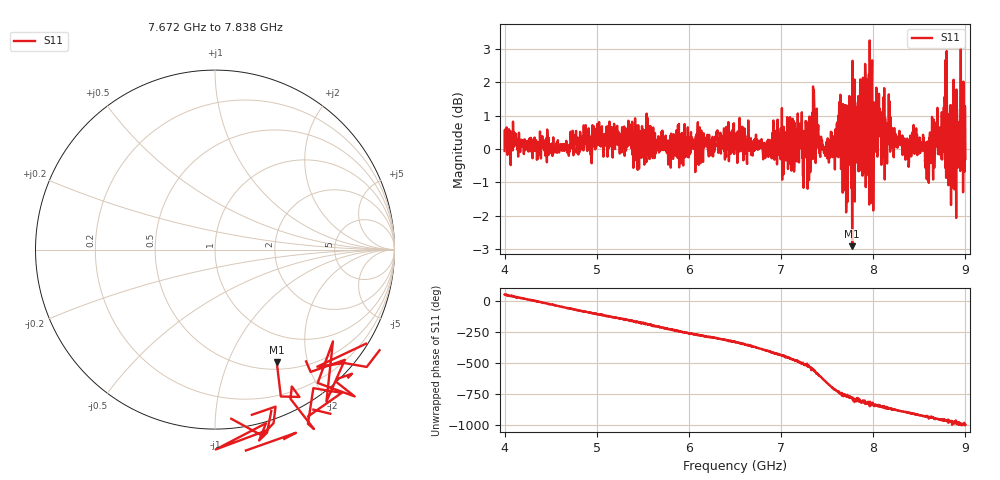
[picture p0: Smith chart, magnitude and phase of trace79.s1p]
! Created with skrf 1.8.0 (http://scikit-rf.org).
# Hz S RI R 50.0
!freq ReS11 ImS11
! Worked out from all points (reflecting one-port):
!   1601 points, 4 GHz to 9 GHz, reference 50 ohm
!   lowest |S11| = -2.9 dB at 7.772 GHz (marker M1), VSWR 6.02, Z = 29.7 - j76.1 ohm
!   phase of S11 starts at 52 deg and turns -1051 deg over the sweep
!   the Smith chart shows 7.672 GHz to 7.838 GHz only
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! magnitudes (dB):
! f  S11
! 4 GHz  -0.1
! 4.625 GHz  -0.1
! 5.25 GHz  -0.1
! 5.875 GHz  -0.1
! 6.5 GHz  0.1
! 7.125 GHz  0.9
! 7.2 GHz  0.8
! 7.303 GHz  -0.9
! 7.372 GHz  1.2
! 7.434 GHz  0.4
! 7.503 GHz  0.0
! 7.622 GHz  -0.2
! 7.694 GHz  -0.1
! 7.75 GHz  -0.5
! 7.772 GHz  -2.9
! 7.834 GHz  1.1
! 7.884 GHz  -0.8
! 7.928 GHz  2.1
! 7.981 GHz  -1.6
! 8.05 GHz  0.7
! 8.375 GHz  0.2
! 8.441 GHz  -0.1
! 8.581 GHz  -0.9
! 8.738 GHz  0.3
! 8.788 GHz  0.2
! 8.856 GHz  -0.2
! 8.972 GHz  0.6
! 9 GHz  -0.3
